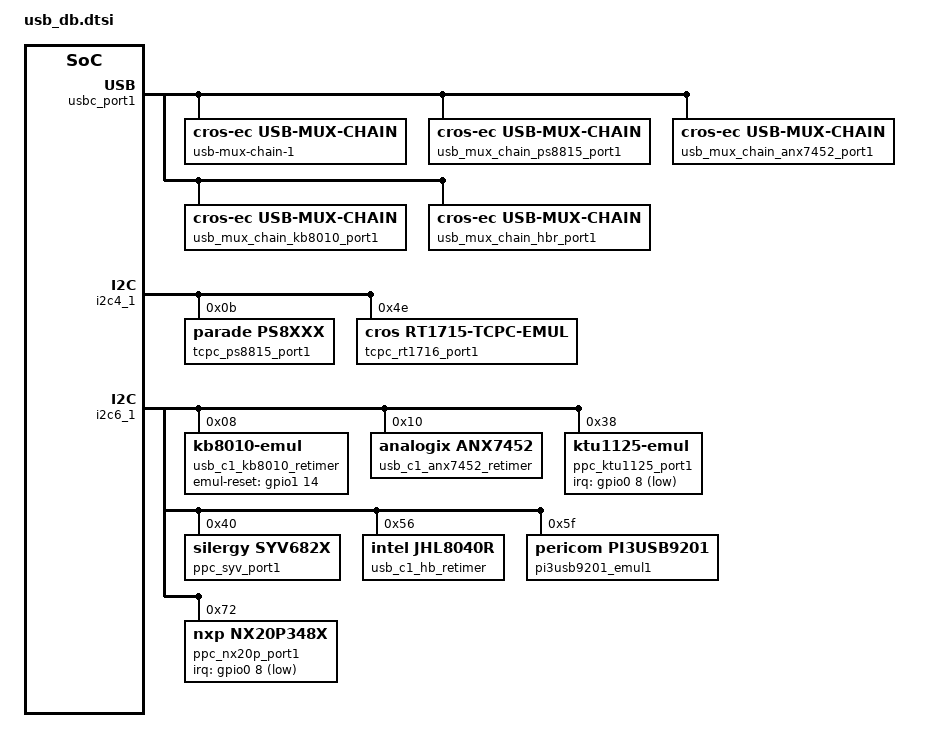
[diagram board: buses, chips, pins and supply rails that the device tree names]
/* Copyright 2023 The ChromiumOS Authors
 * Use of this source code is governed by a BSD-style license that can be
 * found in the LICENSE file.
 */

/ {

	usbc {
		#address-cells = <1>;
		#size-cells = <0>;


		port1-muxes {
			virtual_mux_c1: virtual-mux-c1 {
				compatible = "cros-ec,usbc-mux-virtual";
			};
		};

		usbc_port1: port1@1 {
			compatible = "named-usbc-port";
			reg = <1>;
			bc12 = <&pi3usb9201_emul1>;
			usb-mux-chain-1 {
				compatible = "cros-ec,usb-mux-chain";
				usb-muxes = <&virtual_mux_c1>;
			};
			usb_mux_chain_ps8815_port1: usb-mux-chain-ps8815-1 {
				compatible = "cros-ec,usb-mux-chain";
				usb-muxes = <&virtual_mux_c1>;
				alternative-chain;
			};
			usb_mux_chain_anx7452_port1: usb-mux-chain-1-anx7452 {
				compatible = "cros-ec,usb-mux-chain";
				usb-muxes = <&usb_c1_anx7452_retimer
					     &virtual_mux_c1>;
				alternative-chain;
			};
			usb_mux_chain_kb8010_port1: usb-mux-chain-1-kb8010 {
				compatible = "cros-ec,usb-mux-chain";
				usb-muxes = <&usb_c1_kb8010_retimer
					     &virtual_mux_c1>;
				alternative-chain;
			};
			usb_mux_chain_hbr_port1: usb-mux-chain-1-hbr {
				compatible = "cros-ec,usb-mux-chain";
				usb-muxes = <&usb_c1_hb_retimer
					     &virtual_mux_c1>;
				alternative-chain;
			};
		};
	};

	aliases {
		kb-usb-c1-rst-odl = &gpio_usb_c1_rst_odl;
		anx-usb-c1-rt-hpd-in = &gpio_usb_c1_rst_odl;
		hb-usb-c1-rst-odl = &gpio_usb_c1_rst_odl;

		kb-usb-c1-dp-mode = &gpio_usb_c1_rt_int_odl;
		anx-usb-c1-rt-dp-en = &gpio_usb_c1_rt_int_odl;
		hb-usb-c1-int-odl = &gpio_usb_c1_rt_int_odl;

		ps-usb-c1-rt-rst-odl = &gpio_usb_c1_rt_rst_r_odl;
		kb-usb-c1-rt-rst-odl = &gpio_usb_c1_rt_rst_r_odl;
		anx-usb-c1-rt-usb-en = &gpio_usb_c1_rt_rst_r_odl;
		hb-usb-c1-rt-rst-odl = &gpio_usb_c1_rt_rst_r_odl;

		kb-usb-c1-frs-alert = &gpio_usb_c1_frs_en;
		anx-usb-c1-frs-en = &gpio_usb_c1_frs_en;
		hb-usb-c1-frs-en = &gpio_usb_c1_frs_en;
	};

	named-gpios {
		gpio_usb_c1_rt_rst_r_odl: usb_c1_rt_rst_r_odl {
			gpios = <&gpio0 3 GPIO_ODR_HIGH>;
		};
		gpio_usb_c1_rt_rst_r_odl: usb_c1_rt_rst_r_odl {
			gpios = <&gpio0 3 (GPIO_INPUT|GPIO_OUTPUT)>;
		};
		gpio_usb_c1_rt_int_odl: usb_c1_rt_int_odl {
			gpios = <&gpio0 2 GPIO_INPUT_PULL_UP>;
		};

		usb_c1_ppc_int_odl {
			gpios = <&gpio0 8 (GPIO_INPUT | GPIO_ACTIVE_LOW)>;
		};

	};
};

&i2c4_1 {
	status = "okay";

	tcpc_ps8815_port1: ps8xxx@b {
		compatible = "parade,ps8xxx", "cros,i2c-mock";
		reg = <0x0b>;
		is-alt;
	};

	tcpc_rt1716_port1: rt1716@4e {
		compatible = "cros,rt1715-tcpc-emul",
			"richtek,rt1715-tcpc",
			"cros,i2c-mock";
		reg = <0x4e>;
		is-alt;
	};

};

&i2c6_1 {
	status = "okay";

	usb_c1_kb8010_retimer: usb-c1-kb8010-retimer@8 {
		compatible = "zephyr,kb8010-emul", "kandou,kb8010";
		status = "okay";
		reg = <0x08>;

		reset-pin = <&gpio_usb_c1_rt_rst_r_odl>;
		dp-en-pin = <&gpio_usb_c1_rt_int_odl>;

		/*
		 * TODO: Figure out how to use reset-pin
		 *   directly in emul_kb8010.c.
		 */
		emul-reset-gpios = <&gpio1 14 GPIO_ACTIVE_HIGH>;
	};

	usb_c1_anx7452_retimer: usb-c1-anx7452-retimer@10 {
		compatible = "analogix,anx7452";
		reg = <0x10>;
		usb-en-pin = <&gpio_usb_c1_rt_rst_r_odl>;
		dp-en-pin = <&gpio_usb_c1_rt_int_odl>;
	};

	ppc_ktu1125_port1: ktu1125@38 {
		compatible = "zephyr,ktu1125-emul", "kinetic,ktu1125";
		status = "okay";
		reg = <0x38>;
		irq-gpios = <&gpio0 8 GPIO_ACTIVE_LOW>;
		is-alt;
	};

	ppc_syv_port1: ppc_syv@40 {
		compatible = "silergy,syv682x", "cros,i2c-mock";

		status = "okay";
		reg = <0x40>;
		is-alt;
	};

	usb_c1_hb_retimer: usb-c1-hb-retimer@56 {
		compatible = "intel,jhl8040r";
		reg = <0x56>;
		ls-en-pin = <&gpio_usb_c1_rst_odl>;
		int-pin = <&gpio_usb_c1_rt_int_odl>;
		reset-pin = <&gpio_usb_c1_rt_rst_r_odl>;
	};

	pi3usb9201_emul1: pi3usb9201@5f {
		compatible = "pericom,pi3usb9201";
		status = "okay";
		reg = <0x5f>;
		irq = <&int_usb_c1_bc12>;
	};

	ppc_nx20p_port1: nx20p348x@72 {
		compatible = "nxp,nx20p348x";
		status = "okay";
		reg = <0x72>;
		irq-gpios = <&gpio0 8 GPIO_ACTIVE_LOW>;
		is-alt;
	};
};
